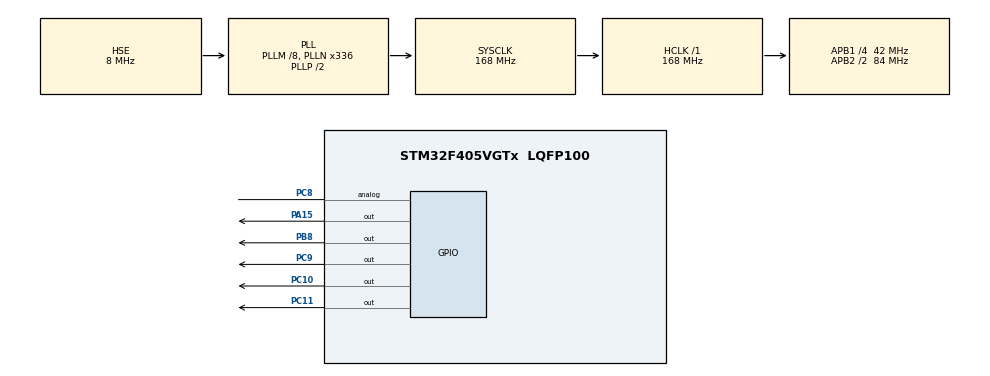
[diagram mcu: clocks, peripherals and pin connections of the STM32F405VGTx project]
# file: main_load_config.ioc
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Mcu.Family=STM32F4
Mcu.Name=STM32F405VGTx
Mcu.Package=LQFP100
NVIC.PriorityGroup=NVIC_PRIORITYGROUP_4
PA15.Signal=GPIO_Output
PB8.Signal=GPIO_Output
PC10.Signal=GPIO_Output
PC11.Signal=GPIO_Output
PC8.Signal=GPIO_Analog
PC9.Signal=GPIO_Output
PH0-OSC_IN.Mode=HSE-External-Oscillator
PH0-OSC_IN.Signal=RCC_OSC_IN
PH1-OSC_OUT.Mode=HSE-External-Oscillator
PH1-OSC_OUT.Signal=RCC_OSC_OUT
ProjectManager.HeapSize=0x200
ProjectManager.StackSize=0x400
ProjectManager.TargetToolchain=STM32CubeIDE
RCC.48MHZClocksFreq_Value=84000000
RCC.AHBFreq_Value=168000000
RCC.APB1CLKDivider=RCC_HCLK_DIV4
RCC.APB1Freq_Value=42000000
RCC.APB1TimFreq_Value=84000000
RCC.APB2CLKDivider=RCC_HCLK_DIV2
RCC.APB2Freq_Value=84000000
RCC.APB2TimFreq_Value=168000000
RCC.CortexFreq_Value=168000000
RCC.HCLKFreq_Value=168000000
RCC.HSE_VALUE=8000000
RCC.HSI_VALUE=16000000
RCC.LSE_VALUE=32768
RCC.PLLM=8
RCC.PLLN=336
RCC.PLLSourceVirtual=RCC_PLLSOURCE_HSE
RCC.SYSCLKFreq_VALUE=168000000
RCC.SYSCLKSource=RCC_SYSCLKSOURCE_PLLCLK
RCC.VCOOutputFreq_Value=336000000
board=custom

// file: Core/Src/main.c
/* USER CODE BEGIN Header */
/**
  ******************************************************************************
  * @file           : main.c
  * @brief          : Main program body
  ******************************************************************************
  * @attention
  *
  * Copyright (c) 2025 STMicroelectronics.
  * All rights reserved.
  *
  * This software is licensed under terms that can be found in the LICENSE file
  * in the root directory of this software component.
  * If no LICENSE file comes with this software, it is provided AS-IS.
  *
  ******************************************************************************
  */
/* USER CODE END Header */
#include "main.h"

/* USER CODE BEGIN Includes */
#include <string.h>
#include <stdio.h>
#include <stdbool.h>
#include "signal.h" // Файл с конфигурацией ПЛИС (массив uint8_t fpga_config[])
#include "stm32f4xx_hal.h"
/* USER CODE END Includes */

void SystemClock_Config(void);
static void MX_GPIO_Init(void);

/* USER CODE BEGIN 0 */
/**
  * @brief Загрузка конфигурации в ПЛИС
  */
void FPGA_LoadConfig(void) {
	 GPIO_InitTypeDef GPIO_InitStruct = {0};

	    // 1. Настройка пинов (оставляем как было)
	    GPIO_InitStruct.Pin = GPIO_PIN_8 | GPIO_PIN_9 | GPIO_PIN_10 | GPIO_PIN_11;
	    GPIO_InitStruct.Mode = GPIO_MODE_OUTPUT_PP;
	    GPIO_InitStruct.Pull = GPIO_NOPULL;
	    GPIO_InitStruct.Speed = GPIO_SPEED_FREQ_VERY_HIGH;
	    HAL_GPIO_Init(GPIOC, &GPIO_InitStruct);

	    GPIO_InitStruct.Pin = GPIO_PIN_15;
	    HAL_GPIO_Init(GPIOA, &GPIO_InitStruct);

	    GPIO_InitStruct.Pin = GPIO_PIN_8;
	    HAL_GPIO_Init(GPIOB, &GPIO_InitStruct);

	    // 2. Установка начальных состояний
	    HAL_GPIO_WritePin(GPIOC, GPIO_PIN_8, GPIO_PIN_SET);   // TH_CS = 1
	    HAL_GPIO_WritePin(GPIOC, GPIO_PIN_9, GPIO_PIN_SET);   // CE = 1
	    HAL_GPIO_WritePin(GPIOC, GPIO_PIN_10, GPIO_PIN_RESET); // CLK = 0
	    HAL_GPIO_WritePin(GPIOC, GPIO_PIN_11, GPIO_PIN_RESET); // DATA = 0
	    HAL_GPIO_WritePin(GPIOA, GPIO_PIN_15, GPIO_PIN_RESET); // nCONFIG = 0
	    HAL_GPIO_WritePin(GPIOB, GPIO_PIN_8, GPIO_PIN_SET);   // CSO = 1

	    // 3. ВАЖНО: Увеличиваем задержку для стабилизации питания при холодном старте
	    HAL_Delay(100); // Возвращаем 100 мс для надежности

	    // 4. Сброс ПЛИС с достаточной паузой
	    HAL_GPIO_WritePin(GPIOA, GPIO_PIN_15, GPIO_PIN_RESET); // nCONFIG = 0
	    HAL_GPIO_WritePin(GPIOC, GPIO_PIN_9, GPIO_PIN_RESET);  // CE = 0
	    HAL_Delay(5); // Увеличиваем до 5 мс (вместо 1 мс)

	    // 5. Запуск конфигурации
	    HAL_GPIO_WritePin(GPIOA, GPIO_PIN_15, GPIO_PIN_SET);   // nCONFIG = 1

	    // 6. Ожидание готовности ПЛИС (увеличиваем)
	    HAL_Delay(3); // Увеличиваем до 3 мс

	    // 7. ОПТИМИЗИРОВАННАЯ передача данных (оставляем быструю)
	    const uint8_t *config_data = fpga_config;
	    uint32_t config_size = sizeof(fpga_config);

	    GPIO_TypeDef* data_port = GPIOC;
	    GPIO_TypeDef* clk_port = GPIOC;
	    uint16_t data_pin = GPIO_PIN_11;
	    uint16_t clk_pin = GPIO_PIN_10;

	    for (uint32_t i = 0; i < config_size; i++) {
	        uint8_t byte = config_data[i];

	        // Развернутый цикл для скорости (оставляем как было)
	        // Бит 0
	        if (byte & 0x01) data_port->BSRR = data_pin;
	        else data_port->BSRR = (uint32_t)data_pin << 16;
	        __NOP(); __NOP();
	        clk_port->BSRR = clk_pin;
	        __NOP();
	        clk_port->BSRR = (uint32_t)clk_pin << 16;

	        // Бит 1
	        if (byte & 0x02) data_port->BSRR = data_pin;
	        else data_port->BSRR = (uint32_t)data_pin << 16;
	        __NOP(); __NOP();
	        clk_port->BSRR = clk_pin;
	        __NOP();
	        clk_port->BSRR = (uint32_t)clk_pin << 16;

	        // Бит 2
	        if (byte & 0x04) data_port->BSRR = data_pin;
	        else data_port->BSRR = (uint32_t)data_pin << 16;
	        __NOP(); __NOP();
	        clk_port->BSRR = clk_pin;
	        __NOP();
	        clk_port->BSRR = (uint32_t)clk_pin << 16;

	        // Бит 3
	        if (byte & 0x08) data_port->BSRR = data_pin;
	        else data_port->BSRR = (uint32_t)data_pin << 16;
	        __NOP(); __NOP();
	        clk_port->BSRR = clk_pin;
	        __NOP();
	        clk_port->BSRR = (uint32_t)clk_pin << 16;

	        // Бит 4
	        if (byte & 0x10) data_port->BSRR = data_pin;
	        else data_port->BSRR = (uint32_t)data_pin << 16;
	        __NOP(); __NOP();
	        clk_port->BSRR = clk_pin;
	        __NOP();
	        clk_port->BSRR = (uint32_t)clk_pin << 16;

	        // Бит 5
	        if (byte & 0x20) data_port->BSRR = data_pin;
	        else data_port->BSRR = (uint32_t)data_pin << 16;
	        __NOP(); __NOP();
	        clk_port->BSRR = clk_pin;
	        __NOP();
	        clk_port->BSRR = (uint32_t)clk_pin << 16;

	        // Бит 6
	        if (byte & 0x40) data_port->BSRR = data_pin;
	        else data_port->BSRR = (uint32_t)data_pin << 16;
	        __NOP(); __NOP();
	        clk_port->BSRR = clk_pin;
	        __NOP();
	        clk_port->BSRR = (uint32_t)clk_pin << 16;

	        // Бит 7
	        if (byte & 0x80) data_port->BSRR = data_pin;
	        else data_port->BSRR = (uint32_t)data_pin << 16;
	        __NOP(); __NOP();
	        clk_port->BSRR = clk_pin;
	        __NOP();
	        clk_port->BSRR = (uint32_t)clk_pin << 16;
	    }

	    // 8. Завершающие импульсы (увеличиваем количество для надежности)
	    for (int i = 0; i < 12; i++) { // Увеличиваем до 12
	        clk_port->BSRR = clk_pin;
	        __NOP(); __NOP();
	        clk_port->BSRR = (uint32_t)clk_pin << 16;
	        __NOP(); __NOP();
	    }

	    // 9. Активация ПЛИС с достаточной паузой
	    HAL_GPIO_WritePin(GPIOC, GPIO_PIN_9, GPIO_PIN_SET);   // CE = 1
	    HAL_Delay(3); // Увеличиваем до 3 мс

	    // 10. Финальные настройки
	    HAL_GPIO_WritePin(GPIOC, GPIO_PIN_8, GPIO_PIN_RESET);  // TH_CS = 0
	    HAL_GPIO_WritePin(GPIOB, GPIO_PIN_8, GPIO_PIN_RESET);  // CSO = 0

	    // 11. Финальная пауза для стабилизации
	    HAL_Delay(5); // Увеличиваем до 5 мс
}

void FPGA_SendConfig(uint8_t *config_data, uint32_t size) {
    FPGA_LoadConfig();
}
/* USER CODE END 0 */

int main(void)
{

	  /* MCU Configuration--------------------------------------------------------*/
	  HAL_Init();
	  SystemClock_Config();

	  /* USER CODE BEGIN SysInit */
	  // Принудительно включаем тактирование всех используемых портов
	  __HAL_RCC_GPIOA_CLK_ENABLE();
	  __HAL_RCC_GPIOB_CLK_ENABLE();
	  __HAL_RCC_GPIOC_CLK_ENABLE();
	  /* USER CODE END SysInit */

	  /* Initialize all configured peripherals */
	  MX_GPIO_Init();

	  /* USER CODE BEGIN 2 */
	  // Даем время на стабилизацию питания после включения
	  // Умеренное уменьшение задержки
	      HAL_Delay(150);

	      // Загружаем конфигурацию ПЛИС
	      FPGA_LoadConfig();

	      // Уменьшаем дополнительную паузу
	      HAL_Delay(10);

  /* USER CODE END 2 */

  /* Infinite loop */
  while (1)
  {

  }
}

void SystemClock_Config(void)
{
  RCC_OscInitTypeDef RCC_OscInitStruct = {0};
  RCC_ClkInitTypeDef RCC_ClkInitStruct = {0};

  /** Configure the main internal regulator output voltage
  */
  __HAL_RCC_PWR_CLK_ENABLE();
  __HAL_PWR_VOLTAGESCALING_CONFIG(PWR_REGULATOR_VOLTAGE_SCALE1);

  /** Initializes the RCC Oscillators according to the specified parameters
  * in the RCC_OscInitTypeDef structure.
  */
  RCC_OscInitStruct.OscillatorType = RCC_OSCILLATORTYPE_HSE;
  RCC_OscInitStruct.HSEState = RCC_HSE_ON;
  RCC_OscInitStruct.PLL.PLLState = RCC_PLL_ON;
  RCC_OscInitStruct.PLL.PLLSource = RCC_PLLSOURCE_HSE;
  RCC_OscInitStruct.PLL.PLLM = 8;
  RCC_OscInitStruct.PLL.PLLN = 336;
  RCC_OscInitStruct.PLL.PLLP = RCC_PLLP_DIV2;
  RCC_OscInitStruct.PLL.PLLQ = 7;
  if (HAL_RCC_OscConfig(&RCC_OscInitStruct) != HAL_OK)
  {
    Error_Handler();
  }

  /** Initializes the CPU, AHB and APB buses clocks
  */
  RCC_ClkInitStruct.ClockType = RCC_CLOCKTYPE_HCLK|RCC_CLOCKTYPE_SYSCLK
                              |RCC_CLOCKTYPE_PCLK1|RCC_CLOCKTYPE_PCLK2;
  RCC_ClkInitStruct.SYSCLKSource = RCC_SYSCLKSOURCE_PLLCLK;
  RCC_ClkInitStruct.AHBCLKDivider = RCC_SYSCLK_DIV1;
  RCC_ClkInitStruct.APB1CLKDivider = RCC_HCLK_DIV4;
  RCC_ClkInitStruct.APB2CLKDivider = RCC_HCLK_DIV2;

  if (HAL_RCC_ClockConfig(&RCC_ClkInitStruct, FLASH_LATENCY_5) != HAL_OK)
  {
    Error_Handler();
  }
}

static void MX_GPIO_Init(void)
{
  GPIO_InitTypeDef GPIO_InitStruct = {0};

  /* GPIO Ports Clock Enable */
  __HAL_RCC_GPIOH_CLK_ENABLE();
  __HAL_RCC_GPIOC_CLK_ENABLE();
  __HAL_RCC_GPIOA_CLK_ENABLE();
  __HAL_RCC_GPIOB_CLK_ENABLE();

  /*Configure GPIO pin Output Level */
  HAL_GPIO_WritePin(GPIOC, GPIO_PIN_9|GPIO_PIN_10|GPIO_PIN_11, GPIO_PIN_RESET);

  /*Configure GPIO pin Output Level */
  HAL_GPIO_WritePin(GPIOA, GPIO_PIN_15, GPIO_PIN_RESET);

  /*Configure GPIO pin Output Level */
  HAL_GPIO_WritePin(GPIOB, GPIO_PIN_8, GPIO_PIN_RESET);

  /*Configure GPIO pin : PC8 */
  GPIO_InitStruct.Pin = GPIO_PIN_8;
  GPIO_InitStruct.Mode = GPIO_MODE_ANALOG;
  GPIO_InitStruct.Pull = GPIO_NOPULL;
  HAL_GPIO_Init(GPIOC, &GPIO_InitStruct);

  /*Configure GPIO pins : PC9 PC10 PC11 */
  GPIO_InitStruct.Pin = GPIO_PIN_9|GPIO_PIN_10|GPIO_PIN_11;
  GPIO_InitStruct.Mode = GPIO_MODE_OUTPUT_PP;
  GPIO_InitStruct.Pull = GPIO_NOPULL;
  GPIO_InitStruct.Speed = GPIO_SPEED_FREQ_HIGH;
  HAL_GPIO_Init(GPIOC, &GPIO_InitStruct);

  /*Configure GPIO pin : PA15 */
  GPIO_InitStruct.Pin = GPIO_PIN_15;
  GPIO_InitStruct.Mode = GPIO_MODE_OUTPUT_PP;
  GPIO_InitStruct.Pull = GPIO_NOPULL;
  GPIO_InitStruct.Speed = GPIO_SPEED_FREQ_HIGH;
  HAL_GPIO_Init(GPIOA, &GPIO_InitStruct);

  /*Configure GPIO pin : PB8 */
  GPIO_InitStruct.Pin = GPIO_PIN_8;
  GPIO_InitStruct.Mode = GPIO_MODE_OUTPUT_PP;
  GPIO_InitStruct.Pull = GPIO_NOPULL;
  GPIO_InitStruct.Speed = GPIO_SPEED_FREQ_HIGH;
  HAL_GPIO_Init(GPIOB, &GPIO_InitStruct);

}

void Error_Handler(void)
{
  __disable_irq();
  while (1)
  {
  }
}
